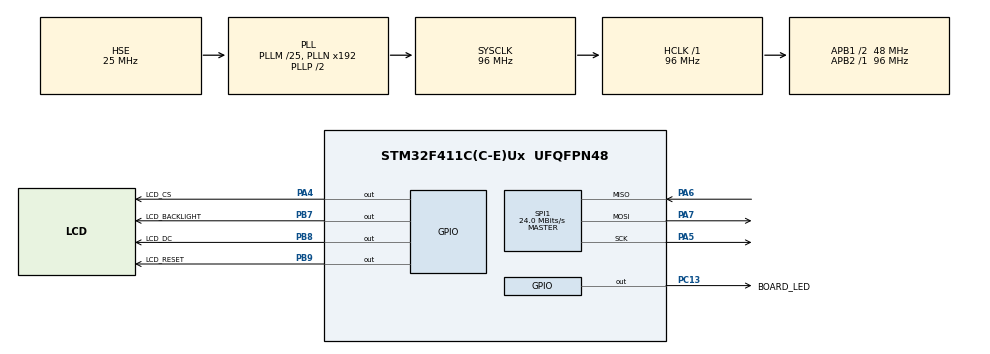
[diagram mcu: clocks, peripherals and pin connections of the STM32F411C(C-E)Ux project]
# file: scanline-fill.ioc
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Mcu.Family=STM32F4
Mcu.Name=STM32F411C(C-E)Ux
Mcu.Package=UFQFPN48
NVIC.PriorityGroup=NVIC_PRIORITYGROUP_4
PA13.Mode=Serial_Wire
PA13.Signal=SYS_JTMS-SWDIO
PA14.Mode=Serial_Wire
PA14.Signal=SYS_JTCK-SWCLK
PA4.GPIO_Label=LCD_CS
PA4.GPIO_Speed=GPIO_SPEED_FREQ_VERY_HIGH
PA4.Signal=GPIO_Output
PA5.Mode=Full_Duplex_Master
PA5.Signal=SPI1_SCK
PA6.Mode=Full_Duplex_Master
PA6.Signal=SPI1_MISO
PA7.Mode=Full_Duplex_Master
PA7.Signal=SPI1_MOSI
PB7.GPIO_Label=LCD_BACKLIGHT
PB7.GPIO_Speed=GPIO_SPEED_FREQ_LOW
PB7.Signal=GPIO_Output
PB8.GPIO_Label=LCD_DC
PB8.GPIO_Speed=GPIO_SPEED_FREQ_VERY_HIGH
PB8.Signal=GPIO_Output
PB9.GPIO_Label=LCD_RESET
PB9.GPIO_Speed=GPIO_SPEED_FREQ_VERY_HIGH
PB9.Signal=GPIO_Output
PC13-ANTI_TAMP.GPIO_Label=BOARD_LED
PC13-ANTI_TAMP.Signal=GPIO_Output
PH0\ -\ OSC_IN.Mode=HSE-External-Oscillator
PH0\ -\ OSC_IN.Signal=RCC_OSC_IN
PH1\ -\ OSC_OUT.Mode=HSE-External-Oscillator
PH1\ -\ OSC_OUT.Signal=RCC_OSC_OUT
ProjectManager.HeapSize=0x200
ProjectManager.StackSize=0x400
ProjectManager.TargetToolchain=STM32CubeIDE
RCC.48MHZClocksFreq_Value=48000000
RCC.AHBFreq_Value=96000000
RCC.APB1CLKDivider=RCC_HCLK_DIV2
RCC.APB1Freq_Value=48000000
RCC.APB1TimFreq_Value=96000000
RCC.APB2Freq_Value=96000000
RCC.APB2TimFreq_Value=96000000
RCC.CortexFreq_Value=96000000
RCC.HCLKFreq_Value=96000000
RCC.HSE_VALUE=25000000
RCC.HSI_VALUE=16000000
RCC.LSE_VALUE=32768
RCC.PLLM=25
RCC.PLLSourceVirtual=RCC_PLLSOURCE_HSE
RCC.SYSCLKFreq_VALUE=96000000
RCC.SYSCLKSource=RCC_SYSCLKSOURCE_PLLCLK
RCC.VCOOutputFreq_Value=192000000
SPI1.BaudRatePrescaler=SPI_BAUDRATEPRESCALER_4
SPI1.CalculateBaudRate=24.0 MBits/s
SPI1.Direction=SPI_DIRECTION_2LINES
SPI1.Mode=SPI_MODE_MASTER
SPI1.VirtualType=VM_MASTER
board=custom

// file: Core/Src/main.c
/* USER CODE BEGIN Header */
/**
  ******************************************************************************
  * @file           : main.c
  * @brief          : Main program body
  ******************************************************************************
  * @attention
  *
  * <h2><center>&copy; Copyright (c) 2022 STMicroelectronics.
  * All rights reserved.</center></h2>
  *
  * This software component is licensed by ST under BSD 3-Clause license,
  * the "License"; You may not use this file except in compliance with the
  * License. You may obtain a copy of the License at:
  *                        opensource.org/licenses/BSD-3-Clause
  *
  ******************************************************************************
  */
/* USER CODE END Header */
#include "main.h"
#include "spi.h"
#include "gpio.h"

/* USER CODE BEGIN Includes */
#include <stdio.h>
#include <string.h>
#include "cycle_counter.h"
#include "lcd_ili9488.h"
#include "artist.h"
#include "constants.h"
/* USER CODE END Includes */

void SystemClock_Config(void);

int main(void)
{
  /* USER CODE BEGIN 1 */
  char buf[100] = {};
  Lcd lcd = {};
  color_t textBuf[FONT_HEIGHT][LCD_WIDTH] = {};
  Canvas textCanvas = {
		  .data = (color_t*)textBuf,
		  .numRows = FONT_HEIGHT,
		  .numCols = LCD_WIDTH
  };
  color_t polygonBuf[POLYGON_BUF_HEIGHT][POLYGON_BUF_WIDTH] = {};
  Canvas polygonCanvas = {
		  .data = (color_t*)polygonBuf,
		  .numRows = POLYGON_BUF_HEIGHT,
		  .numCols = POLYGON_BUF_WIDTH
  };
  Point polygonPoints[] = {
		  {40, 40},
		  {60, 60},
		  {100, 40},
		  {100, 80},
		  {160, 80},
		  {180, 120},
		  {160, 160},
		  {120, 180},
		  {80, 120},
		  {40, 160},
		  {20, 100}
  };
  const size_t numPolygonPoints = sizeof(polygonPoints)/sizeof(polygonPoints[0]);
  uint32_t benchmarkTimes[BENCHMARK_NUM_TIMES] = {};
  const char *benchmarkTimeStrings[BENCHMARK_NUM_TIMES] = {
		  "Sorting polygon points:",
		  "Building edge table:",
		  "Processing scanlines:",
		  ""
  };
  /* USER CODE END 1 */

  /* MCU Configuration--------------------------------------------------------*/

  /* Reset of all peripherals, Initializes the Flash interface and the Systick. */
  HAL_Init();

  /* USER CODE BEGIN Init */
  CycleCounter_Init();
  /* USER CODE END Init */

  /* Configure the system clock */
  SystemClock_Config();

  /* Initialize all configured peripherals */
  MX_GPIO_Init();
  MX_SPI1_Init();
  /* USER CODE BEGIN 2 */
  LCD_Init(&lcd);

  // Draw header text
  strcpy(buf, "Scanline Fill Algorithm Benchmark");
  Point bufPos = {0, 0}, screenStartPos = {0, 0}, screenEndPos = {LCD_WIDTH - 1, FONT_HEIGHT - 1};
  Artist_ClearCanvas(&textCanvas, BLACK);
  Artist_DrawText(&textCanvas, buf, bufPos, GREEN);
  LCD_SetArea(&lcd, &screenStartPos, &screenEndPos);
  LCD_DrawArea(&lcd, textCanvas.data, textCanvas.numRows, textCanvas.numCols);
  /* USER CODE END 2 */

  /* Infinite loop */
  /* USER CODE BEGIN WHILE */
  while (1)
  {
	  HAL_GPIO_TogglePin(BOARD_LED_GPIO_Port, BOARD_LED_Pin);

	  Artist_ClearCanvas(&polygonCanvas, BLACK);

	  uint32_t start_ticks = CycleCounter_GetValue();
	  Artist_FillPolygon(&polygonCanvas, polygonPoints, numPolygonPoints, BLUE, benchmarkTimes);
	  uint32_t duration_ticks = CycleCounter_GetValue() - start_ticks;
	  benchmarkTimes[BENCHMARK_TOTAL_TIME] = duration_ticks;
	  float execution_time = (float)(duration_ticks) / (SystemCoreClock/1000000);

	  screenStartPos.x = 60; screenStartPos.y = 100;
	  screenEndPos.x = screenStartPos.x + POLYGON_BUF_WIDTH - 1; screenEndPos.y = screenStartPos.y + POLYGON_BUF_HEIGHT - 1;
	  LCD_SetArea(&lcd, &screenStartPos, &screenEndPos);
	  LCD_DrawArea(&lcd, polygonCanvas.data, polygonCanvas.numRows, polygonCanvas.numCols);

	  sprintf(buf, "Total execution ticks: %lu", duration_ticks);
	  bufPos.x = 0; bufPos.y = 0;
	  screenStartPos.x = 0; screenStartPos.y = 3*LCD_HEIGHT/4;
	  screenEndPos.x = screenStartPos.x + LCD_WIDTH - 1; screenEndPos.y = screenStartPos.y + FONT_HEIGHT - 1;
	  Artist_ClearCanvas(&textCanvas, BLACK);
	  Artist_DrawText(&textCanvas, buf, bufPos, RED);
	  LCD_SetArea(&lcd, &screenStartPos, &screenEndPos);
	  LCD_DrawArea(&lcd, textCanvas.data, textCanvas.numRows, textCanvas.numCols);

	  sprintf(buf, "Total execution time : %.3f us", execution_time);
	  bufPos.x = 0; bufPos.y = 0;
	  screenStartPos.x = 0; screenStartPos.y = 3*LCD_HEIGHT/4 + FONT_HEIGHT;
	  screenEndPos.x = screenStartPos.x + LCD_WIDTH - 1; screenEndPos.y = screenStartPos.y + FONT_HEIGHT - 1;
	  Artist_ClearCanvas(&textCanvas, BLACK);
	  Artist_DrawText(&textCanvas, buf, bufPos, YELLOW);
	  LCD_SetArea(&lcd, &screenStartPos, &screenEndPos);
	  LCD_DrawArea(&lcd, textCanvas.data, textCanvas.numRows, textCanvas.numCols);

	  for(uint8_t iTime = 0; iTime < BENCHMARK_NUM_TIMES - 1; ++iTime)
	  {
		  sprintf(buf, "%s %lu ticks", benchmarkTimeStrings[iTime], benchmarkTimes[iTime]);
		  bufPos.x = 0; bufPos.y = 0;
		  screenStartPos.x = 0; screenStartPos.y = 3*LCD_HEIGHT/4 + (iTime + 2)*FONT_HEIGHT;
		  screenEndPos.x = screenStartPos.x + LCD_WIDTH - 1; screenEndPos.y = screenStartPos.y + FONT_HEIGHT - 1;
		  Artist_ClearCanvas(&textCanvas, BLACK);
		  Artist_DrawText(&textCanvas, buf, bufPos, MAGENTA);
		  LCD_SetArea(&lcd, &screenStartPos, &screenEndPos);
		  LCD_DrawArea(&lcd, textCanvas.data, textCanvas.numRows, textCanvas.numCols);
	  }

	  HAL_Delay(1000);
    /* USER CODE END WHILE */

  }
}

void SystemClock_Config(void)
{
  RCC_OscInitTypeDef RCC_OscInitStruct = {0};
  RCC_ClkInitTypeDef RCC_ClkInitStruct = {0};

  /** Configure the main internal regulator output voltage
  */
  __HAL_RCC_PWR_CLK_ENABLE();
  __HAL_PWR_VOLTAGESCALING_CONFIG(PWR_REGULATOR_VOLTAGE_SCALE1);
  /** Initializes the RCC Oscillators according to the specified parameters
  * in the RCC_OscInitTypeDef structure.
  */
  RCC_OscInitStruct.OscillatorType = RCC_OSCILLATORTYPE_HSE;
  RCC_OscInitStruct.HSEState = RCC_HSE_ON;
  RCC_OscInitStruct.PLL.PLLState = RCC_PLL_ON;
  RCC_OscInitStruct.PLL.PLLSource = RCC_PLLSOURCE_HSE;
  RCC_OscInitStruct.PLL.PLLM = 25;
  RCC_OscInitStruct.PLL.PLLN = 192;
  RCC_OscInitStruct.PLL.PLLP = RCC_PLLP_DIV2;
  RCC_OscInitStruct.PLL.PLLQ = 4;
  if (HAL_RCC_OscConfig(&RCC_OscInitStruct) != HAL_OK)
  {
    Error_Handler();
  }
  /** Initializes the CPU, AHB and APB buses clocks
  */
  RCC_ClkInitStruct.ClockType = RCC_CLOCKTYPE_HCLK|RCC_CLOCKTYPE_SYSCLK
                              |RCC_CLOCKTYPE_PCLK1|RCC_CLOCKTYPE_PCLK2;
  RCC_ClkInitStruct.SYSCLKSource = RCC_SYSCLKSOURCE_PLLCLK;
  RCC_ClkInitStruct.AHBCLKDivider = RCC_SYSCLK_DIV1;
  RCC_ClkInitStruct.APB1CLKDivider = RCC_HCLK_DIV2;
  RCC_ClkInitStruct.APB2CLKDivider = RCC_HCLK_DIV1;

  if (HAL_RCC_ClockConfig(&RCC_ClkInitStruct, FLASH_LATENCY_3) != HAL_OK)
  {
    Error_Handler();
  }
}

void Error_Handler(void)
{
  __disable_irq();
  while (1)
  {
  }
}

/************************ (C) COPYRIGHT STMicroelectronics *****END OF FILE****/
